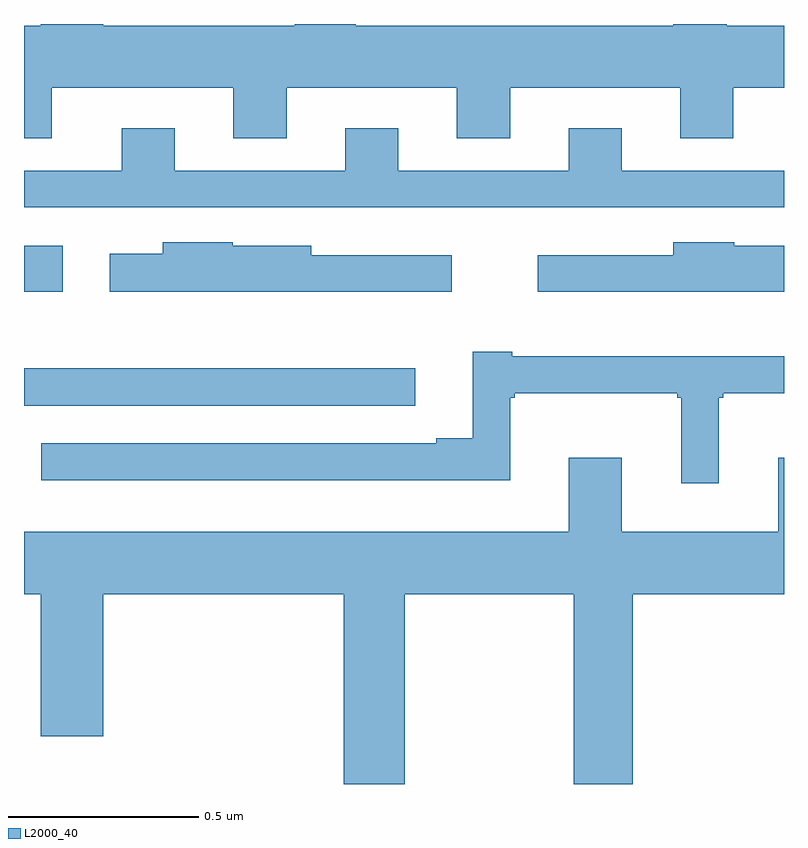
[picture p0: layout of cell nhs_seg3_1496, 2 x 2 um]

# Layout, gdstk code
import gdstk
lib = gdstk.Library(unit=1e-6, precision=1e-09)
def R(c, l, rs):  # rectangles x0, y0, x1, y1
    for r in rs: c.add(gdstk.rectangle(r[:2], r[2:], *l))
def P(c, l, *ps):  # polygons
    for p in ps: c.add(gdstk.Polygon(p, *l))
L2000_40 = (2000, 40)

nhs_seg3_1496 = lib.new_cell('nhs_seg3_1496')
R(nhs_seg3_1496, L2000_40, [(129,717.396,130.03,717.494), (129,717.695,129.102,717.817)])
P(nhs_seg3_1496, L2000_40, [(129.073,718.232),(129.551,718.232),(129.551,718.099),(129.691,718.099),(129.691,718.232),(130.139,718.232),(130.139,718.099),(130.279,718.099),(130.279,718.232),(130.727,718.232),(130.727,718.099),(130.867,718.099),(130.867,718.232),(131,718.232),(131,718.396),(130.849,718.396),(130.849,718.4),(130.709,718.4),(130.709,718.396),(129.873,718.396),(129.873,718.4),(129.713,718.4),(129.713,718.396),(129.208,718.396),(129.208,718.4),(129.044,718.4),(129.044,718.396),(129,718.396),(129,718.099),(129.073,718.099)],
  [(131,718.014),(130.573,718.014),(130.573,718.126),(130.433,718.126),(130.433,718.014),(129.985,718.014),(129.985,718.126),(129.845,718.126),(129.845,718.014),(129.397,718.014),(129.397,718.126),(129.257,718.126),(129.257,718.014),(129,718.014),(129,717.918),(131,717.918)],
  [(131,717.817),(130.869,717.817),(130.869,717.826),(130.709,717.826),(130.709,717.792),(130.352,717.792),(130.352,717.695),(131,717.695)],
  [(130.126,717.792),(129.756,717.792),(129.756,717.817),(129.549,717.817),(129.549,717.826),(129.365,717.826),(129.365,717.796),(129.225,717.796),(129.225,717.695),(130.126,717.695)],
  [(130.828,717.417),(130.84,717.417),(130.84,717.428),(131,717.428),(131,717.526),(130.285,717.526),(130.285,717.538),(130.181,717.538),(130.181,717.31),(130.085,717.31),(130.085,717.297),(129.045,717.297),(129.045,717.2),(130.279,717.2),(130.279,717.417),(130.291,717.417),(130.291,717.428),(130.719,717.428),(130.719,717.417),(130.73,717.417),(130.73,717.192),(130.828,717.192)],
  [(131,717.259),(130.985,717.259),(130.985,717.064),(130.573,717.064),(130.573,717.259),(130.433,717.259),(130.433,717.064),(129,717.064),(129,716.9),(129.044,716.9),(129.044,716.526),(129.208,716.526),(129.208,716.9),(129.842,716.9),(129.842,716.4),(130.002,716.4),(130.002,716.9),(130.447,716.9),(130.447,716.4),(130.602,716.4),(130.602,716.9),(131,716.9)])

lib.write_gds('nhs_seg3_1496.gds')
